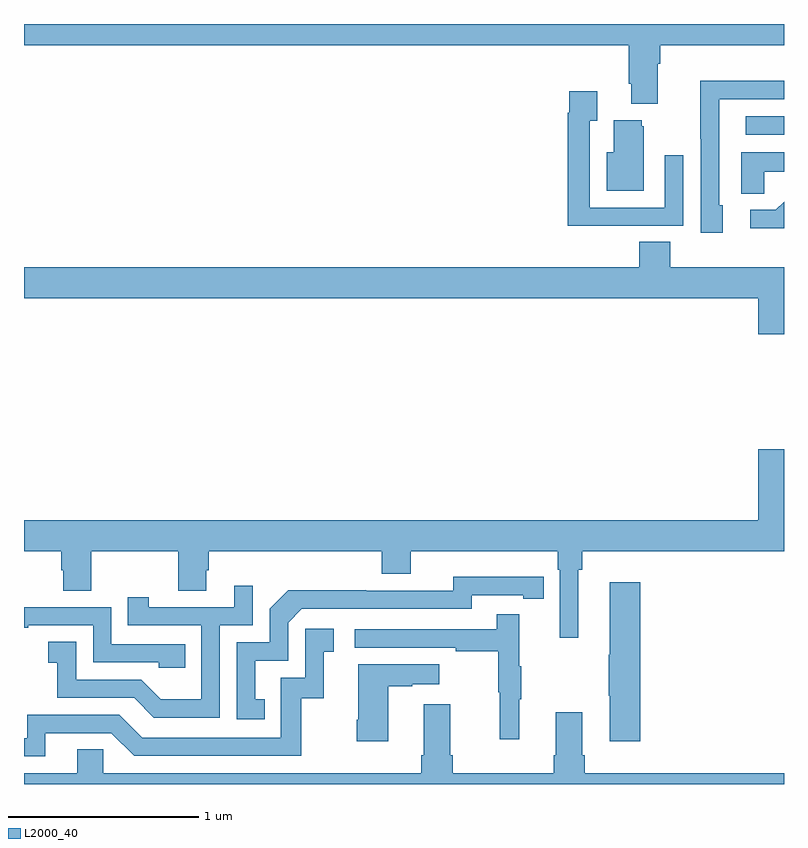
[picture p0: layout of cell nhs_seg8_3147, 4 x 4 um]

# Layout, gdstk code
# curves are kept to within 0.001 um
import gdstk
lib = gdstk.Library(unit=1e-6, precision=1e-09)
def R(c, l, rs):  # rectangles x0, y0, x1, y1
    for r in rs: c.add(gdstk.rectangle(r[:2], r[2:], *l))
def P(c, l, *ps):  # polygons
    for p in ps: c.add(gdstk.Polygon(p, *l))
L2000_40 = (2000, 40)

nhs_seg8_3147 = lib.new_cell('nhs_seg8_3147')
R(nhs_seg8_3147, L2000_40, [(308.799,1161.318,309,1161.414)])
P(nhs_seg8_3147, L2000_40, [(308.335,1161.692),(308.348,1161.692),(308.348,1161.788),(309,1161.788),(309,1161.9),(305,1161.9),(305,1161.788),(308.183,1161.788),(308.183,1161.586),(308.195,1161.586),(308.195,1161.479),(308.335,1161.479)],
  [(308.677,1160.946),(308.658,1160.946),(308.658,1161.504),(309,1161.504),(309,1161.602),(308.56,1161.602),(308.56,1161.295),(308.562,1161.295),(308.562,1160.802),(308.677,1160.802)],
  [(308.153,1160.838),(308.469,1160.838),(308.469,1161.208),(308.373,1161.208),(308.373,1160.934),(307.977,1160.934),(307.977,1161.391),(308.017,1161.391),(308.017,1161.547),(307.869,1161.547),(307.869,1161.434),(307.861,1161.434),(307.861,1160.837),(308.153,1160.837)],
  [(308.263,1161.363),(308.252,1161.363),(308.252,1161.394),(308.105,1161.394),(308.105,1161.226),(308.066,1161.226),(308.066,1161.023),(308.263,1161.023)],
  [(308.895,1161.122),(309,1161.122),(309,1161.226),(308.774,1161.226),(308.774,1161.007),(308.895,1161.007)],
  [(309,1160.965),(308.957,1160.922),(308.823,1160.922),(308.823,1160.825),(309,1160.825)],
  [(309,1160.62),(308.402,1160.62),(308.402,1160.753),(308.237,1160.753),(308.237,1160.62),(305,1160.62),(305,1160.456),(308.864,1160.456),(308.864,1160.268),(309,1160.268)],
  [(307.918,1159.028),(307.937,1159.028),(307.937,1159.124),(309,1159.124),(309,1159.663),(308.864,1159.663),(308.864,1159.288),(305,1159.288),(305,1159.124),(305.195,1159.124),(305.195,1159.026),(305.207,1159.026),(305.207,1158.916),(305.355,1158.916),(305.355,1159.124),(305.812,1159.124),(305.812,1158.916),(305.959,1158.916),(305.959,1159.026),(305.972,1159.026),(305.972,1159.124),(306.884,1159.124),(306.884,1159.007),(307.036,1159.007),(307.036,1159.124),(307.808,1159.124),(307.808,1159.028),(307.821,1159.028),(307.821,1158.669),(307.918,1158.669)],
  [(306.266,1158.345),(306.217,1158.345),(306.217,1158.549),(306.39,1158.549),(306.39,1158.75),(306.462,1158.822),(307.356,1158.822),(307.356,1158.894),(307.628,1158.894),(307.628,1158.874),(307.736,1158.874),(307.736,1158.99),(307.26,1158.991),(307.26,1158.918),(306.8,1158.918),(306.8,1158.92),(306.392,1158.92),(306.294,1158.822),(306.294,1158.645),(306.12,1158.645),(306.12,1158.24),(306.266,1158.24)],
  [(308.243,1158.961),(308.084,1158.961),(308.084,1158.581),(308.077,1158.581),(308.077,1158.364),(308.084,1158.364),(308.084,1158.126),(308.243,1158.126)],
  [(306.03,1158.735),(306.204,1158.735),(306.204,1158.943),(306.107,1158.943),(306.107,1158.831),(305.656,1158.831),(305.656,1158.883),(305.545,1158.883),(305.545,1158.735),(305.934,1158.735),(305.934,1158.346),(305.72,1158.346),(305.616,1158.45),(305.274,1158.45),(305.274,1158.649),(305.127,1158.649),(305.127,1158.539),(305.176,1158.539),(305.176,1158.354),(305.579,1158.354),(305.684,1158.249),(306.03,1158.249)],
  [(305.849,1158.636),(305.46,1158.636),(305.46,1158.831),(305,1158.831),(305,1158.723),(305.023,1158.723),(305.023,1158.735),(305.364,1158.735),(305.364,1158.54),(305.709,1158.54),(305.709,1158.513),(305.849,1158.513)],
  [(307.607,1158.347),(307.618,1158.347),(307.618,1158.521),(307.607,1158.521),(307.607,1158.793),(307.489,1158.793),(307.489,1158.714),(306.741,1158.714),(306.741,1158.618),(307.273,1158.618),(307.273,1158.598),(307.497,1158.598),(307.497,1158.384),(307.504,1158.384),(307.504,1158.135),(307.607,1158.135)],
  [(305.113,1158.168),(305.46,1158.168),(305.58,1158.048),(306.46,1158.048),(306.46,1158.351),(306.578,1158.351),(306.578,1158.597),(306.631,1158.597),(306.631,1158.718),(306.48,1158.718),(306.48,1158.459),(306.351,1158.459),(306.351,1158.144),(305.622,1158.144),(305.502,1158.264),(305.016,1158.264),(305.016,1158.141),(305,1158.141),(305,1158.045),(305.113,1158.045)],
  [(306.916,1158.415),(307.043,1158.415),(307.043,1158.425),(307.186,1158.425),(307.186,1158.529),(306.758,1158.529),(306.758,1158.238),(306.751,1158.238),(306.751,1158.126),(306.916,1158.126)],
  [(309,1157.956),(307.952,1157.956),(307.952,1158.052),(307.939,1158.052),(307.939,1158.277),(307.799,1158.277),(307.799,1158.052),(307.787,1158.052),(307.787,1157.956),(307.256,1157.956),(307.256,1158.052),(307.243,1158.052),(307.243,1158.319),(307.103,1158.319),(307.103,1158.052),(307.091,1158.052),(307.091,1157.956),(305.418,1157.956),(305.418,1158.083),(305.279,1158.083),(305.279,1157.956),(305,1157.956),(305,1157.9),(309,1157.9)])

lib.write_gds('nhs_seg8_3147.gds')
